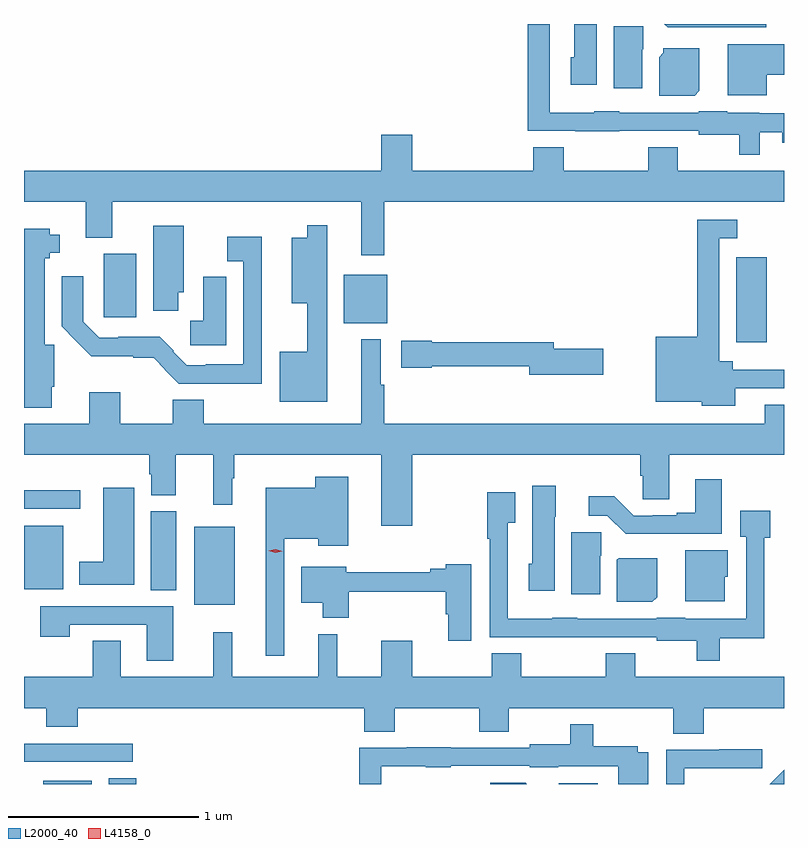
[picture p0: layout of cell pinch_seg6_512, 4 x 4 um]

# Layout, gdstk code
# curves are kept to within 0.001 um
import gdstk
lib = gdstk.Library(unit=1e-6, precision=1e-09)
def R(c, l, rs):  # rectangles x0, y0, x1, y1
    for r in rs: c.add(gdstk.rectangle(r[:2], r[2:], *l))
def P(c, l, *ps):  # polygons
    for p in ps: c.add(gdstk.Polygon(p, *l))
L2000_40 = (2000, 40)
L4158_0 = (4158, 0)

pinch_seg6_512 = lib.new_cell('pinch_seg6_512')
R(pinch_seg6_512, L2000_40, [(822.569,936.28,822.826,936.298), (822.914,936.28,823.061,936.311), (825.284,936.28,825.49,936.284), (822.469,936.396,823.042,936.492), (823.364,937.223,823.579,937.633), (823.136,937.3,823.27,937.716), (822.469,937.304,822.676,937.639), (822.469,937.728,822.766,937.826), (826.217,938.604,826.378,939.052), (824.153,938.705,824.38,938.959)])
P(pinch_seg6_512, L2000_40, [(825.484,940.28),(825.365,940.28),(825.365,940.104),(825.347,940.104),(825.347,939.96),(825.484,939.96)],
  [(826.376,940.28),(825.838,940.28),(825.856,940.262),(826.376,940.262)],
  [(826.341,939.71),(826.46,939.71),(826.46,939.656),(826.469,939.656),(826.469,939.809),(826.338,939.809),(826.338,939.814),(826.17,939.814),(826.17,939.82),(826.02,939.82),(826.02,939.813),(825.603,939.813),(825.603,939.82),(825.471,939.82),(825.471,939.814),(825.237,939.814),(825.237,940.28),(825.121,940.28),(825.121,939.717),(825.371,939.717),(825.371,939.716),(825.603,939.716),(825.603,939.717),(826.02,939.717),(826.02,939.698),(826.233,939.698),(826.233,939.593),(826.341,939.593)],
  [(825.724,940.146),(825.728,940.146),(825.728,940.269),(825.572,940.269),(825.572,939.942),(825.724,939.942)],
  [(826.378,940.013),(826.469,940.013),(826.469,940.174),(826.172,940.174),(826.172,939.905),(826.378,939.905)],
  [(826.024,939.928),(826.024,940.153),(825.834,940.153),(825.834,940.128),(825.812,940.106),(825.812,939.902),(825.998,939.902)],
  [(824.365,939.344),(826.469,939.344),(826.469,939.508),(825.909,939.508),(825.909,939.632),(825.754,939.632),(825.754,939.508),(825.309,939.508),(825.309,939.632),(825.149,939.632),(825.149,939.508),(824.512,939.508),(824.512,939.697),(824.348,939.697),(824.348,939.508),(822.469,939.508),(822.469,939.344),(822.794,939.344),(822.794,939.155),(822.934,939.155),(822.934,939.344),(824.243,939.344),(824.243,939.063),(824.365,939.063)],
  [(826.213,938.364),(826.469,938.364),(826.469,938.46),(826.198,938.46),(826.198,938.506),(826.128,938.506),(826.128,939.153),(826.222,939.153),(826.222,939.249),(826.012,939.249),(826.012,938.635),(825.794,938.635),(825.794,938.291),(826.035,938.291),(826.035,938.27),(826.213,938.27)],
  [(824.065,939.22),(823.961,939.22),(823.961,939.154),(823.877,939.154),(823.877,938.81),(823.961,938.81),(823.961,938.554),(823.814,938.554),(823.814,938.291),(824.065,938.291)],
  [(823.282,938.868),(823.309,938.868),(823.309,939.217),(823.148,939.217),(823.148,938.772),(823.282,938.772)],
  [(822.616,938.371),(822.629,938.371),(822.629,938.592),(822.579,938.592),(822.579,939.048),(822.604,939.048),(822.604,939.075),(822.658,939.075),(822.658,939.172),(822.604,939.172),(822.604,939.202),(822.469,939.202),(822.469,938.489),(822.47,938.489),(822.47,938.261),(822.616,938.261)],
  [(823.719,938.65),(823.72,939.16),(823.54,939.16),(823.54,939.032),(823.623,939.032),(823.623,938.488),(823.426,938.488),(823.426,938.484),(823.326,938.484),(823.254,938.556),(823.257,938.559),(823.183,938.633),(822.964,938.633),(822.964,938.628),(822.864,938.628),(822.78,938.712),(822.78,938.953),(822.668,938.953),(822.668,938.688),(822.823,938.531),(823.043,938.531),(823.043,938.523),(823.151,938.523),(823.213,938.461),(823.211,938.459),(823.283,938.387),(823.719,938.387)],
  [(823.06,939.07),(822.89,939.07),(822.89,938.889),(822.888,938.889),(822.888,938.736),(823.06,938.736)],
  [(823.534,938.951),(823.412,938.951),(823.412,938.719),(823.344,938.719),(823.344,938.59),(823.534,938.59)],
  [(824.512,938.012),(825.713,938.012),(825.713,937.902),(825.726,937.902),(825.726,937.78),(825.865,937.78),(825.865,938.012),(826.469,938.012),(826.469,938.275),(826.367,938.275),(826.367,938.176),(824.365,938.176),(824.365,938.381),(824.347,938.381),(824.347,938.62),(824.243,938.62),(824.243,938.176),(823.414,938.176),(823.414,938.302),(823.253,938.302),(823.253,938.176),(822.976,938.176),(822.976,938.341),(822.812,938.341),(822.812,938.176),(822.469,938.176),(822.469,938.012),(823.127,938.012),(823.127,937.911),(823.139,937.911),(823.139,937.801),(823.267,937.801),(823.267,938.012),(823.466,938.012),(823.466,937.749),(823.564,937.749),(823.564,937.889),(823.576,937.889),(823.576,938.012),(824.348,938.012),(824.348,937.638),(824.512,937.638)],
  [(825.517,938.57),(825.256,938.57),(825.256,938.606),(824.616,938.606),(824.616,938.614),(824.454,938.614),(824.454,938.47),(824.616,938.47),(824.616,938.478),(825.128,938.478),(825.128,938.435),(825.517,938.435)],
  [(823.839,937.571),(824.018,937.571),(824.018,937.535),(824.176,937.535),(824.176,937.897),(824.001,937.897),(824.001,937.84),(823.742,937.84),(823.742,936.954),(823.839,936.954)],
  [(826.141,937.885),(826.001,937.885),(826.001,937.708),(825.905,937.708),(825.905,937.695),(825.778,937.695),(825.778,937.692),(825.678,937.692),(825.576,937.795),(825.441,937.795),(825.441,937.692),(825.54,937.692),(825.635,937.598),(826.141,937.598)],
  [(825.262,937.686),(825.268,937.686),(825.268,937.849),(825.143,937.849),(825.143,937.44),(825.125,937.44),(825.125,937.296),(825.262,937.296)],
  [(823.048,937.84),(822.887,937.84),(822.887,937.45),(822.761,937.45),(822.761,937.328),(823.048,937.328)],
  [(826.132,937.046),(826.365,937.046),(826.365,937.577),(826.396,937.577),(826.396,937.719),(826.238,937.719),(826.238,937.582),(826.269,937.582),(826.269,937.15),(825.948,937.15),(825.948,937.156),(825.798,937.156),(825.798,937.149),(825.381,937.149),(825.381,937.156),(825.249,937.156),(825.249,937.15),(825.015,937.15),(825.015,937.655),(825.055,937.655),(825.055,937.816),(824.907,937.816),(824.907,937.571),(824.919,937.571),(824.919,937.053),(825.149,937.053),(825.149,937.052),(825.381,937.052),(825.381,937.053),(825.798,937.053),(825.798,937.034),(826.011,937.034),(826.011,936.929),(826.132,936.929)],
  [(825.502,937.482),(825.506,937.482),(825.506,937.605),(825.35,937.605),(825.35,937.278),(825.502,937.278)],
  [(826.156,937.371),(826.174,937.371),(826.174,937.51),(825.95,937.51),(825.95,937.241),(826.156,937.241)],
  [(825.802,937.264),(825.802,937.468),(825.598,937.468),(825.59,937.46),(825.59,937.238),(825.776,937.238)],
  [(824.824,937.436),(824.69,937.436),(824.69,937.412),(824.606,937.412),(824.606,937.395),(824.164,937.395),(824.164,937.423),(823.928,937.423),(823.928,937.235),(824.042,937.235),(824.042,937.154),(824.177,937.154),(824.177,937.291),(824.69,937.291),(824.69,937.173),(824.702,937.173),(824.702,937.035),(824.824,937.035)],
  [(823.255,937.215),(822.555,937.215),(822.555,937.056),(822.711,937.056),(822.711,937.119),(823.115,937.119),(823.115,936.93),(823.255,936.93)],
  [(826.046,936.68),(826.469,936.68),(826.469,936.844),(825.687,936.844),(825.687,936.968),(825.532,936.968),(825.532,936.844),(825.087,936.844),(825.087,936.968),(824.932,936.968),(824.932,936.844),(824.512,936.844),(824.512,937.033),(824.348,937.033),(824.348,936.844),(824.118,936.844),(824.118,937.069),(824.018,937.069),(824.018,936.844),(823.565,936.844),(823.565,937.078),(823.466,937.078),(823.466,936.844),(822.979,936.844),(822.979,937.034),(822.832,937.034),(822.832,936.844),(822.469,936.844),(822.469,936.68),(822.587,936.68),(822.587,936.581),(822.752,936.581),(822.752,936.68),(824.261,936.68),(824.261,936.556),(824.421,936.556),(824.421,936.68),(824.866,936.68),(824.866,936.556),(825.021,936.556),(825.021,936.68),(825.886,936.68),(825.886,936.544),(826.046,936.544)],
  [(824.349,936.374),(824.583,936.374),(824.583,936.368),(824.715,936.368),(824.715,936.375),(825.132,936.375),(825.132,936.368),(825.282,936.368),(825.282,936.374),(825.596,936.374),(825.596,936.28),(825.754,936.28),(825.754,936.448),(825.7,936.448),(825.7,936.479),(825.466,936.479),(825.466,936.595),(825.345,936.595),(825.345,936.49),(825.132,936.49),(825.132,936.471),(824.715,936.471),(824.715,936.473),(824.483,936.473),(824.483,936.471),(824.233,936.471),(824.233,936.28),(824.349,936.28)],
  [(825.945,936.363),(826.354,936.363),(826.354,936.462),(826.129,936.462),(826.129,936.459),(825.849,936.459),(825.849,936.28),(825.945,936.28)],
  [(826.469,936.355),(826.393,936.28),(826.469,936.28)],
  [(825.11,936.286),(824.924,936.286),(824.924,936.28),(825.116,936.28)])
P(pinch_seg6_512, L4158_0, [(823.792,937.496),(823.757,937.507),(823.757,937.508),(823.757,937.508),(823.793,937.516),(823.828,937.505),(823.829,937.505),(823.828,937.505)])

lib.write_gds('pinch_seg6_512.gds')
